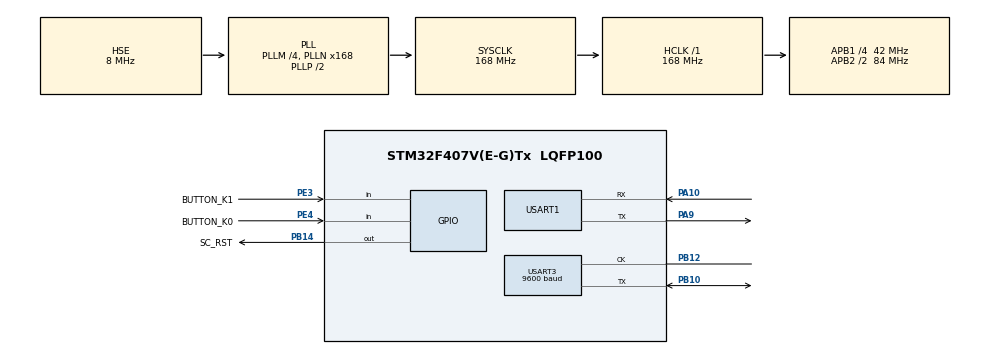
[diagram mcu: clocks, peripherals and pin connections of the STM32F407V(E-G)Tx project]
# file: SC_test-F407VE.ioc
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Mcu.Family=STM32F4
Mcu.Name=STM32F407V(E-G)Tx
Mcu.Package=LQFP100
NVIC.PriorityGroup=NVIC_PRIORITYGROUP_4
NVIC.USART1_IRQn=true\:0\:0\:false\:false\:true\:true\:true
PA10.Mode=Asynchronous
PA10.Signal=USART1_RX
PA13.Mode=Serial_Wire
PA13.Signal=SYS_JTMS-SWDIO
PA14.Mode=Serial_Wire
PA14.Signal=SYS_JTCK-SWCLK
PA9.Mode=Asynchronous
PA9.Signal=USART1_TX
PB10.Mode=SmartCard_With_Clock
PB10.Signal=USART3_TX
PB12.Mode=SmartCard_With_Clock
PB12.Signal=USART3_CK
PB14.GPIO_Label=SC_RST
PB14.Signal=GPIO_Output
PE3.GPIO_Label=BUTTON_K1
PE3.GPIO_PuPd=GPIO_PULLUP
PE3.Signal=GPIO_Input
PE4.GPIO_Label=BUTTON_K0
PE4.GPIO_PuPd=GPIO_PULLUP
PE4.Signal=GPIO_Input
PH0-OSC_IN.Mode=HSE-External-Oscillator
PH0-OSC_IN.Signal=RCC_OSC_IN
PH1-OSC_OUT.Mode=HSE-External-Oscillator
PH1-OSC_OUT.Signal=RCC_OSC_OUT
ProjectManager.HeapSize=0x200
ProjectManager.StackSize=0x400
ProjectManager.TargetToolchain=STM32CubeIDE
RCC.48MHZClocksFreq_Value=48000000
RCC.AHBFreq_Value=168000000
RCC.APB1CLKDivider=RCC_HCLK_DIV4
RCC.APB1Freq_Value=42000000
RCC.APB1TimFreq_Value=84000000
RCC.APB2CLKDivider=RCC_HCLK_DIV2
RCC.APB2Freq_Value=84000000
RCC.APB2TimFreq_Value=168000000
RCC.CortexFreq_Value=168000000
RCC.HCLKFreq_Value=168000000
RCC.HSE_VALUE=8000000
RCC.HSI_VALUE=16000000
RCC.LSE_VALUE=32768
RCC.PLLM=4
RCC.PLLN=168
RCC.PLLQ=7
RCC.PLLSourceVirtual=RCC_PLLSOURCE_HSE
RCC.SYSCLKFreq_VALUE=168000000
RCC.SYSCLKSource=RCC_SYSCLKSOURCE_PLLCLK
RCC.VCOOutputFreq_Value=336000000
USART1.VirtualMode=VM_ASYNC
USART3.BaudRate=9600
USART3.CLKLastBit=SMARTCARD_LASTBIT_ENABLE
USART3.GuardTime=16
USART3.NACKState=SMARTCARD_NACK_ENABLE
USART3.Prescaler=6
USART3.VirtualClockMode=VM_SMARTCARD
USART3.VirtualMode=VM_SMARTCARD
VP_RNG_VS_RNG.Mode=RNG_Activate
board=custom

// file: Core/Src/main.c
/* USER CODE BEGIN Header */
/**
 ******************************************************************************
 * @file           : main.c
 * @brief          : Main program body
 ******************************************************************************
 * @attention
 *
 * <h2><center>&copy; Copyright (c) 2025 STMicroelectronics.
 * All rights reserved.</center></h2>
 *
 * This software component is licensed by ST under BSD 3-Clause license,
 * the "License"; You may not use this file except in compliance with the
 * License. You may obtain a copy of the License at:
 *                        opensource.org/licenses/BSD-3-Clause
 *
 ******************************************************************************
 */
/* USER CODE END Header */
#include "main.h"

RNG_HandleTypeDef hrng;

UART_HandleTypeDef huart1;
SMARTCARD_HandleTypeDef hsc3;

void SystemClock_Config(void);
static void MX_GPIO_Init(void);
static void MX_RNG_Init(void);
static void MX_USART1_UART_Init(void);
static void MX_USART3_SMARTCARD_Init(void);
/* USER CODE BEGIN PFP */
void print_debug(const char *format, ...);
void print_debug_bytes(const uint8_t *buf, uint16_t len);
static uint8_t hex_char_to_val(char c);
static uint16_t parse_hex_line(uint8_t *in, uint16_t in_len, uint8_t *out);
HAL_StatusTypeDef SC_send_APDU(uint8_t *apdu, uint16_t apdu_len, uint8_t *resp, uint16_t *resp_len);
void SC_cold_reset(void);
HAL_StatusTypeDef SC_get_ATR(void);
void SC_parse_ATR(const uint8_t *buf, uint16_t len);
HAL_StatusTypeDef SC_SELECT_PSE(void);
/* USER CODE END PFP */

/* USER CODE BEGIN 0 */
#include "stdio.h"
#include "stdarg.h"
#include "string.h"

/* send str with value over UART */

#define RX_BUF_LEN 256
#define ATR_MAX_LEN 32
#define SC_RESP_MAX_LEN 256

static uint8_t uart_rx_byte = 0;
static uint8_t uart_rx_buf[RX_BUF_LEN];
static uint16_t uart_rx_len = 0;
static uint8_t uart_cmd_received = 0;

static uint8_t atr_buf[ATR_MAX_LEN];
static uint16_t atr_len = 0;

static uint8_t hex_char_to_val(char c)
{
  if(c >= '0' && c <= '9') return c - '0';
  if(c >= 'A' && c <= 'F') return c - 'A' + 10;
  if(c >= 'a' && c <= 'f') return c - 'a' + 10;
  return 0xFF;
}

static uint16_t parse_hex_line(uint8_t *in, uint16_t in_len, uint8_t *out)
{
  uint16_t out_len = 0;
  for(uint16_t i = 0; i + 1 < in_len && out_len < 64; i++)
  {
    if(in[i] == ' ') continue;
    uint8_t hi = hex_char_to_val(in[i]);
    uint8_t lo = hex_char_to_val(in[i + 1]);
    if(hi == 0xFF || lo == 0xFF) break;
    out[out_len++] = (hi << 4) | lo;
    i++;
  }
  return out_len;
}

void HAL_UART_RxCpltCallback(UART_HandleTypeDef *huart)
{
  if(huart->Instance == USART1)
  {
    if(uart_rx_byte == '\r' || uart_rx_byte == '\n')
    {
      if(uart_rx_len > 0)
      {
        uart_cmd_received = 1;
      }
    }
    else if(uart_rx_len < RX_BUF_LEN - 1)
    {
      uart_rx_buf[uart_rx_len++] = uart_rx_byte;
    }
    HAL_UART_Receive_IT(&huart1, &uart_rx_byte, 1);
  }
}

void print_debug(const char *format, ...)
{
  uint8_t temp[256] = {0};

  va_list args;
  va_start(args, format);
  vsprintf((char*)temp, format, args);
  va_end(args);

  while(HAL_UART_Transmit(&huart1, temp, strlen((char*)temp), 100) == HAL_BUSY);
}

void print_debug_bytes(const uint8_t *buf, uint16_t len)
{
  char hex[4];
  for(uint16_t i = 0; i < len; ++i)
  {
    snprintf(hex, sizeof(hex), "%02X ", buf[i]);
    HAL_UART_Transmit(&huart1, (uint8_t*)hex, 3, HAL_MAX_DELAY);
  }
}

HAL_StatusTypeDef SC_send_APDU(uint8_t *apdu, uint16_t apdu_len, uint8_t *resp, uint16_t *resp_len)
{
  HAL_StatusTypeDef ret;
  *resp_len = 0;

  print_debug("C-APDU => ");
  print_debug_bytes(apdu, apdu_len);
  print_debug("\r\n");

  // Передаём APDU-запрос
  ret = HAL_SMARTCARD_Transmit(&hsc3, apdu, apdu_len, 1000);
  if(ret != HAL_OK) return ret;

  while(*resp_len < SC_RESP_MAX_LEN)
  {
    uint8_t b;
    ret = HAL_SMARTCARD_Receive(&hsc3, &b, 1, 200);
    if(ret == HAL_OK)
    {
      resp[(*resp_len)++] = b;
    }
    else
    {
      break; // таймаут = конец ATR
    }
  }

  if((*resp_len > 0))
  {
    print_debug("R-APDU <= ");
    print_debug_bytes(resp, *resp_len);
    print_debug("\r\n");
    return HAL_OK;
  }
  else
  {
    print_debug("R-APDU <= ERROR\r\n");
    return HAL_TIMEOUT;
  }
}

void SC_cold_reset(void)
{
  /* Assume VCC already powered */
  HAL_GPIO_WritePin(SC_RST_GPIO_Port, SC_RST_Pin, GPIO_PIN_RESET); /* RST = Low (active) */

  __HAL_RCC_USART3_CLK_ENABLE(); /* enable card clock first */
  HAL_Delay(2); /* > 400 cycles = 0.11 ms, we use 2 ms for safety */

  HAL_GPIO_WritePin(SC_RST_GPIO_Port, SC_RST_Pin, GPIO_PIN_SET); /* Release reset */
}

HAL_StatusTypeDef SC_get_ATR(void)
{
  atr_len = 0;
  uint8_t byte;
  HAL_StatusTypeDef ret;

  while(atr_len < ATR_MAX_LEN)
  {
    ret = HAL_SMARTCARD_Receive(&hsc3, &byte, 1, 100);
    if(ret == HAL_OK)
    {
      atr_buf[atr_len++] = byte;
    }
    else
    {
      break; // таймаут = конец ATR
    }
  }
  return (atr_len > 0) ? HAL_OK : HAL_TIMEOUT;
}

void SC_parse_ATR(const uint8_t *buf, uint16_t len)
{
  if(len < 2)
  {
    print_debug("ATR too short\r\n");
    return;
  }

  uint8_t i = 0;
  uint8_t TS = buf[i++];
  print_debug("TS = 0x%02X (%s convention)\r\n", TS, TS == 0x3B ? "Direct" : TS == 0x3F ? "Inverse" : "Unknown");

  uint8_t T0 = buf[i++];
  uint8_t Y = (T0 & 0xF0) >> 4;
  uint8_t K = T0 & 0x0F;
  print_debug("T0 = 0x%02X (Y1=0x%X, K=%d historical bytes)\r\n", T0, Y, K);

  // Печатаем интерфейсные байты TA1–TDn
  for(uint8_t level = 1; Y && i < len; ++level)
  {
    if(Y & 0x01 && i < len) print_debug("TA%d = 0x%02X\r\n", level, buf[i++]);
    if(Y & 0x02 && i < len) print_debug("TB%d = 0x%02X\r\n", level, buf[i++]);
    if(Y & 0x04 && i < len) print_debug("TC%d = 0x%02X\r\n", level, buf[i++]);

    if(Y & 0x08 && i < len)
    {
      uint8_t TD = buf[i++];
      print_debug("TD%d = 0x%02X (Y%d=0x%X, T=%d)\r\n", level, TD, level + 1, (TD >> 4), TD & 0x0F);
      Y = (TD & 0xF0) >> 4;
    }
    else break;
  }

  // Печатаем historical bytes
  print_debug("Historical bytes: ");
  for(uint8_t j = 0; j < K && i < len; ++j)
    print_debug("%02X ", buf[i++]);
  print_debug("\r\n");

  // Попробуем вывести ASCII-эквивалент
  print_debug("ASCII: ");
  for(uint8_t j = 0; j < K && i - K + j < len; ++j)
  {
    char c = buf[i - K + j];
    print_debug("%c", (c >= 32 && c <= 126) ? c : '.');
  }
  print_debug("\r\n");

  // TCK (если есть)
  if(i < len)
  {
    uint8_t TCK = buf[i++];
    uint8_t sum = 0;
    for(uint8_t j = 1; j < len - 1; ++j)
      sum ^= buf[j];
    sum ^= TCK;
    print_debug("TCK = 0x%02X (%s)\r\n", TCK, sum == 0 ? "OK" : "Invalid checksum");
  }
}

/* USER CODE END 0 */

int main(void)
{

  /* MCU Configuration--------------------------------------------------------*/

  /* Reset of all peripherals, Initializes the Flash interface and the Systick. */
  HAL_Init();

  /* Configure the system clock */
  SystemClock_Config();

  /* Initialize all configured peripherals */
  MX_GPIO_Init();
  MX_RNG_Init();
  MX_USART1_UART_Init();
  MX_USART3_SMARTCARD_Init();
  /* USER CODE BEGIN 2 */
  HAL_UART_Receive_IT(&huart1, &uart_rx_byte, 1);

  print_debug("\r\n=== Smart-Card CLI ===\r\n");
  print_debug("Press the K1 button to activate the smart-card...\r\n");

  uint32_t button_k1_last_ms = 0;
  uint32_t ticks_current_ms = 0;
  /* USER CODE END 2 */

  /* Infinite loop */
  /* USER CODE BEGIN WHILE */
  while(1)
  {
    ticks_current_ms = HAL_GetTick();
    if(uart_cmd_received)
    {
      uint8_t apdu[64];
      uint8_t resp[SC_RESP_MAX_LEN];
      uint16_t apdu_len = parse_hex_line(uart_rx_buf, uart_rx_len, apdu);
      uint16_t resp_len = 0;

      SC_send_APDU(apdu, apdu_len, resp, &resp_len);

      uart_rx_len = 0;
      uart_cmd_received = 0;
    }

    if(HAL_GPIO_ReadPin(BUTTON_K1_GPIO_Port, BUTTON_K1_Pin) == GPIO_PIN_RESET
        && (ticks_current_ms - button_k1_last_ms > 1000))
    {
      SC_cold_reset();
      print_debug("Cold reset done, waiting for ATR...\r\n");

      if(SC_get_ATR() == HAL_OK)
      {
        print_debug("ATR length: %d bytes\r\nATR: ", atr_len);
        print_debug_bytes(atr_buf, atr_len);

        SC_parse_ATR(atr_buf, atr_len);

        uint8_t resp[SC_RESP_MAX_LEN];
        uint16_t resp_len;

        memset(resp, 0, sizeof(resp));
        memset(&resp_len, 0, sizeof(resp_len));

        uint8_t apdu_get_data_wrong[] = {0x80, 0xCA, 0x9F, 0x7F, 0x00};
        SC_send_APDU(apdu_get_data_wrong, sizeof(apdu_get_data_wrong), resp, &resp_len);

        memset(resp, 0, sizeof(resp));
        memset(&resp_len, 0, sizeof(resp_len));

        uint8_t apdu_get_data_correct[] = {0x80, 0xCA, 0x9F, 0x7F, 0x2D};
        SC_send_APDU(apdu_get_data_correct, sizeof(apdu_get_data_correct), resp, &resp_len);

        print_debug("\r\nDone.\r\n");
      }
      else
      {
        printf("ATR receive ERROR\r\n");
      }
      button_k1_last_ms = ticks_current_ms;
    }

    /* USER CODE END WHILE */

  }
}

void SystemClock_Config(void)
{
  RCC_OscInitTypeDef RCC_OscInitStruct = {0};
  RCC_ClkInitTypeDef RCC_ClkInitStruct = {0};

  /** Configure the main internal regulator output voltage
   */
  __HAL_RCC_PWR_CLK_ENABLE();
  __HAL_PWR_VOLTAGESCALING_CONFIG(PWR_REGULATOR_VOLTAGE_SCALE1);
  /** Initializes the RCC Oscillators according to the specified parameters
   * in the RCC_OscInitTypeDef structure.
   */
  RCC_OscInitStruct.OscillatorType = RCC_OSCILLATORTYPE_HSE;
  RCC_OscInitStruct.HSEState = RCC_HSE_ON;
  RCC_OscInitStruct.PLL.PLLState = RCC_PLL_ON;
  RCC_OscInitStruct.PLL.PLLSource = RCC_PLLSOURCE_HSE;
  RCC_OscInitStruct.PLL.PLLM = 4;
  RCC_OscInitStruct.PLL.PLLN = 168;
  RCC_OscInitStruct.PLL.PLLP = RCC_PLLP_DIV2;
  RCC_OscInitStruct.PLL.PLLQ = 7;
  if(HAL_RCC_OscConfig(&RCC_OscInitStruct) != HAL_OK)
  {
    Error_Handler();
  }
  /** Initializes the CPU, AHB and APB buses clocks
   */
  RCC_ClkInitStruct.ClockType = RCC_CLOCKTYPE_HCLK | RCC_CLOCKTYPE_SYSCLK | RCC_CLOCKTYPE_PCLK1 | RCC_CLOCKTYPE_PCLK2;
  RCC_ClkInitStruct.SYSCLKSource = RCC_SYSCLKSOURCE_PLLCLK;
  RCC_ClkInitStruct.AHBCLKDivider = RCC_SYSCLK_DIV1;
  RCC_ClkInitStruct.APB1CLKDivider = RCC_HCLK_DIV4;
  RCC_ClkInitStruct.APB2CLKDivider = RCC_HCLK_DIV2;

  if(HAL_RCC_ClockConfig(&RCC_ClkInitStruct, FLASH_LATENCY_5) != HAL_OK)
  {
    Error_Handler();
  }
}

static void MX_RNG_Init(void)
{

  hrng.Instance = RNG;
  if(HAL_RNG_Init(&hrng) != HAL_OK)
  {
    Error_Handler();
  }

}

static void MX_USART1_UART_Init(void)
{

  huart1.Instance = USART1;
  huart1.Init.BaudRate = 115200;
  huart1.Init.WordLength = UART_WORDLENGTH_8B;
  huart1.Init.StopBits = UART_STOPBITS_1;
  huart1.Init.Parity = UART_PARITY_NONE;
  huart1.Init.Mode = UART_MODE_TX_RX;
  huart1.Init.HwFlowCtl = UART_HWCONTROL_NONE;
  huart1.Init.OverSampling = UART_OVERSAMPLING_16;
  if(HAL_UART_Init(&huart1) != HAL_OK)
  {
    Error_Handler();
  }

}

static void MX_USART3_SMARTCARD_Init(void)
{

  hsc3.Instance = USART3;
  hsc3.Init.BaudRate = 9600;
  hsc3.Init.WordLength = SMARTCARD_WORDLENGTH_9B;
  hsc3.Init.StopBits = SMARTCARD_STOPBITS_1_5;
  hsc3.Init.Parity = SMARTCARD_PARITY_EVEN;
  hsc3.Init.Mode = SMARTCARD_MODE_TX_RX;
  hsc3.Init.CLKPolarity = SMARTCARD_POLARITY_LOW;
  hsc3.Init.CLKPhase = SMARTCARD_PHASE_1EDGE;
  hsc3.Init.CLKLastBit = SMARTCARD_LASTBIT_ENABLE;
  hsc3.Init.Prescaler = 6;
  hsc3.Init.GuardTime = 16;
  hsc3.Init.NACKState = SMARTCARD_NACK_ENABLE;
  if(HAL_SMARTCARD_Init(&hsc3) != HAL_OK)
  {
    Error_Handler();
  }

}

static void MX_GPIO_Init(void)
{
  GPIO_InitTypeDef GPIO_InitStruct = {0};

  /* GPIO Ports Clock Enable */
  __HAL_RCC_GPIOE_CLK_ENABLE();
  __HAL_RCC_GPIOH_CLK_ENABLE();
  __HAL_RCC_GPIOB_CLK_ENABLE();
  __HAL_RCC_GPIOA_CLK_ENABLE();

  /*Configure GPIO pin Output Level */
  HAL_GPIO_WritePin(SC_RST_GPIO_Port, SC_RST_Pin, GPIO_PIN_RESET);

  /*Configure GPIO pins : BUTTON_K1_Pin BUTTON_K0_Pin */
  GPIO_InitStruct.Pin = BUTTON_K1_Pin | BUTTON_K0_Pin;
  GPIO_InitStruct.Mode = GPIO_MODE_INPUT;
  GPIO_InitStruct.Pull = GPIO_PULLUP;
  HAL_GPIO_Init(GPIOE, &GPIO_InitStruct);

  /*Configure GPIO pin : SC_RST_Pin */
  GPIO_InitStruct.Pin = SC_RST_Pin;
  GPIO_InitStruct.Mode = GPIO_MODE_OUTPUT_PP;
  GPIO_InitStruct.Pull = GPIO_NOPULL;
  GPIO_InitStruct.Speed = GPIO_SPEED_FREQ_LOW;
  HAL_GPIO_Init(SC_RST_GPIO_Port, &GPIO_InitStruct);

}

void Error_Handler(void)
{
  __disable_irq();
  while(1)
  {
  }
}

/************************ (C) COPYRIGHT STMicroelectronics *****END OF FILE****/
